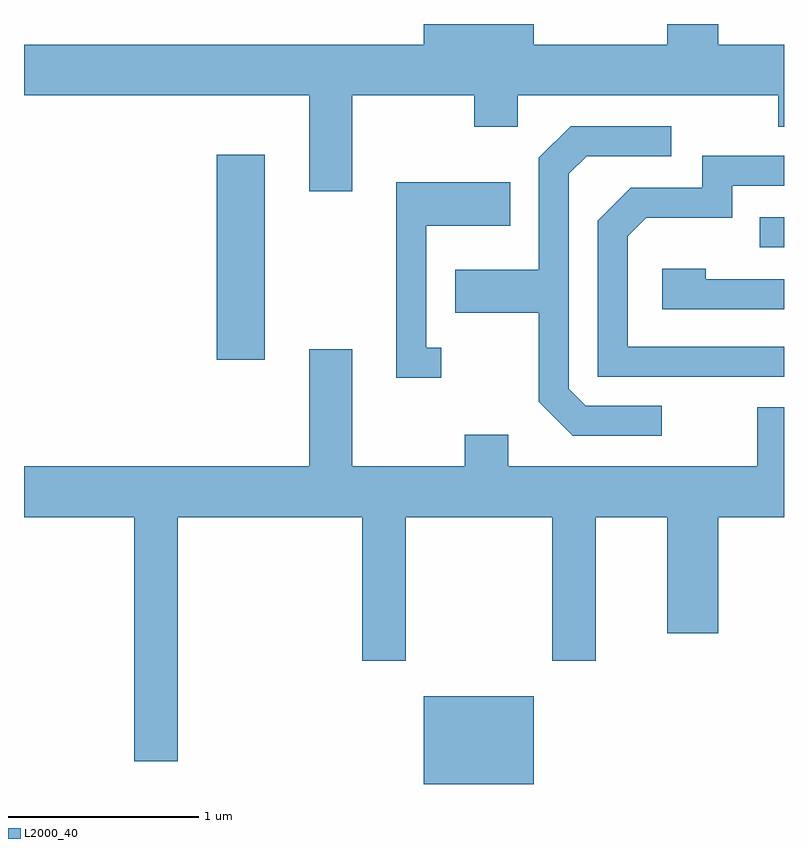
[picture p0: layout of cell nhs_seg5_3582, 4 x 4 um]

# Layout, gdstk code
import gdstk
lib = gdstk.Library(unit=1e-6, precision=1e-09)
def R(c, l, rs):  # rectangles x0, y0, x1, y1
    for r in rs: c.add(gdstk.rectangle(r[:2], r[2:], *l))
def P(c, l, *ps):  # polygons
    for p in ps: c.add(gdstk.Polygon(p, *l))
L2000_40 = (2000, 40)

nhs_seg5_3582 = lib.new_cell('nhs_seg5_3582')
R(nhs_seg5_3582, L2000_40, [(293.716,1442.072,294.294,1442.534), (292.626,1444.306,292.879,1445.384), (295.483,1444.896,295.611,1445.054)])
P(nhs_seg5_3582, L2000_40, [(293.339,1445.696),(293.981,1445.696),(293.981,1445.531),(294.209,1445.531),(294.209,1445.696),(295.581,1445.696),(295.581,1445.531),(295.611,1445.531),(295.611,1445.964),(295.264,1445.964),(295.264,1446.072),(294.996,1446.072),(294.996,1445.964),(294.294,1445.964),(294.294,1446.072),(293.716,1446.072),(293.716,1445.964),(291.611,1445.964),(291.611,1445.696),(293.111,1445.696),(293.111,1445.191),(293.339,1445.191)],
  [(294.968,1444.064),(294.567,1444.064),(294.479,1444.152),(294.479,1445.284),(294.572,1445.376),(295.018,1445.376),(295.018,1445.534),(294.489,1445.534),(294.321,1445.367),(294.321,1444.779),(293.881,1444.779),(293.881,1444.551),(294.321,1444.551),(294.321,1444.084),(294.499,1443.906),(294.968,1443.906)],
  [(295.611,1444.374),(294.789,1444.374),(294.789,1444.954),(294.887,1445.051),(295.339,1445.051),(295.339,1445.221),(295.611,1445.221),(295.611,1445.379),(295.181,1445.379),(295.181,1445.209),(294.804,1445.209),(294.631,1445.037),(294.631,1444.216),(295.611,1444.216)],
  [(293.808,1444.369),(293.729,1444.369),(293.729,1445.011),(294.169,1445.011),(294.169,1445.239),(293.571,1445.239),(293.571,1444.211),(293.808,1444.211)],
  [(295.611,1444.729),(295.199,1444.729),(295.199,1444.784),(294.971,1444.784),(294.971,1444.571),(295.611,1444.571)],
  [(292.419,1443.476),(293.391,1443.476),(293.391,1442.721),(293.619,1442.721),(293.619,1443.476),(294.391,1443.476),(294.391,1442.721),(294.619,1442.721),(294.619,1443.476),(294.996,1443.476),(294.996,1442.866),(295.264,1442.866),(295.264,1443.476),(295.611,1443.476),(295.611,1444.054),(295.471,1444.054),(295.471,1443.744),(294.159,1443.744),(294.159,1443.909),(293.931,1443.909),(293.931,1443.744),(293.339,1443.744),(293.339,1444.359),(293.111,1444.359),(293.111,1443.744),(291.611,1443.744),(291.611,1443.476),(292.191,1443.476),(292.191,1442.191),(292.419,1442.191)])

lib.write_gds('nhs_seg5_3582.gds')
